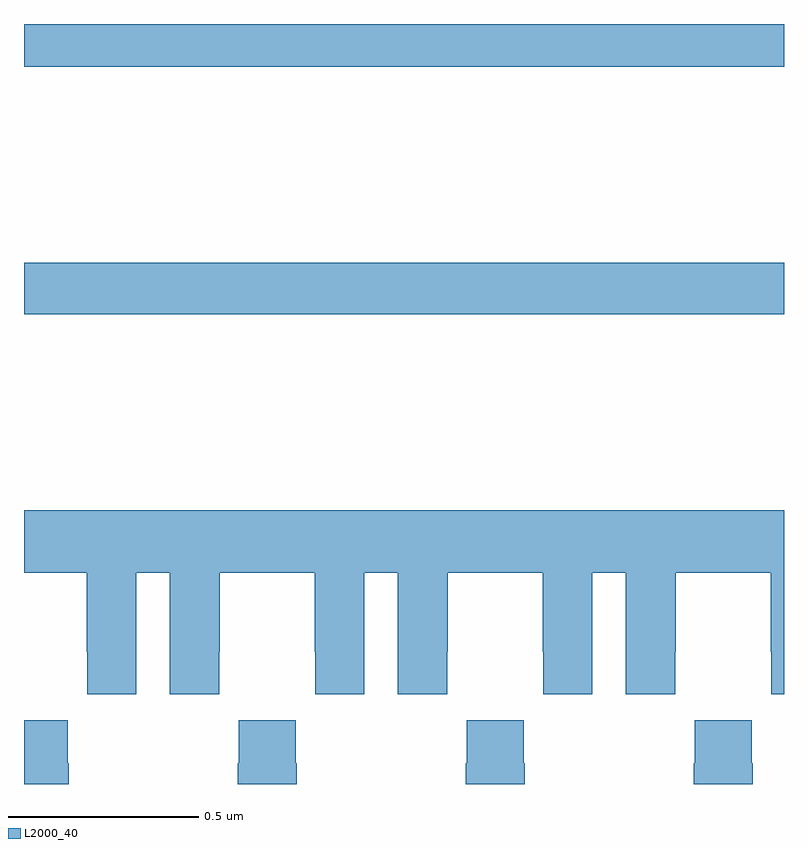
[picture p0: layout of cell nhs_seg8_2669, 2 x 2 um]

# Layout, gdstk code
import gdstk
lib = gdstk.Library(unit=1e-6, precision=1e-09)
def R(c, l, rs):  # rectangles x0, y0, x1, y1
    for r in rs: c.add(gdstk.rectangle(r[:2], r[2:], *l))
def P(c, l, *ps):  # polygons
    for p in ps: c.add(gdstk.Polygon(p, *l))
L2000_40 = (2000, 40)

nhs_seg8_2669 = lib.new_cell('nhs_seg8_2669')
R(nhs_seg8_2669, L2000_40, [(146,1161.136,148,1161.272), (146,1161.788,148,1161.9)])
P(nhs_seg8_2669, L2000_40, [(146,1160.456),(146.165,1160.456),(146.165,1160.248),(146.166,1160.248),(146.166,1160.136),(146.296,1160.136),(146.296,1160.456),(146.384,1160.456),(146.384,1160.136),(146.514,1160.136),(146.514,1160.248),(146.515,1160.248),(146.515,1160.456),(146.765,1160.456),(146.765,1160.248),(146.766,1160.248),(146.766,1160.136),(146.896,1160.136),(146.896,1160.456),(146.984,1160.456),(146.984,1160.136),(147.114,1160.136),(147.114,1160.248),(147.115,1160.248),(147.115,1160.456),(147.365,1160.456),(147.365,1160.248),(147.366,1160.248),(147.366,1160.136),(147.496,1160.136),(147.496,1160.456),(147.584,1160.456),(147.584,1160.136),(147.714,1160.136),(147.714,1160.248),(147.715,1160.248),(147.715,1160.456),(147.965,1160.456),(147.965,1160.248),(147.966,1160.248),(147.966,1160.136),(148,1160.136),(148,1160.62),(146,1160.62)],
  [(147.918,1159.955),(147.915,1159.955),(147.915,1160.068),(147.765,1160.068),(147.765,1159.955),(147.763,1159.955),(147.763,1159.9),(147.918,1159.9)],
  [(147.318,1159.955),(147.315,1159.955),(147.315,1160.068),(147.165,1160.068),(147.165,1159.955),(147.163,1159.955),(147.163,1159.9),(147.318,1159.9)],
  [(146.718,1159.955),(146.715,1159.955),(146.715,1160.068),(146.565,1160.068),(146.565,1159.955),(146.563,1159.955),(146.563,1159.9),(146.718,1159.9)],
  [(146.118,1159.955),(146.115,1159.955),(146.115,1160.068),(146,1160.068),(146,1159.9),(146.118,1159.9)])

lib.write_gds('nhs_seg8_2669.gds')
